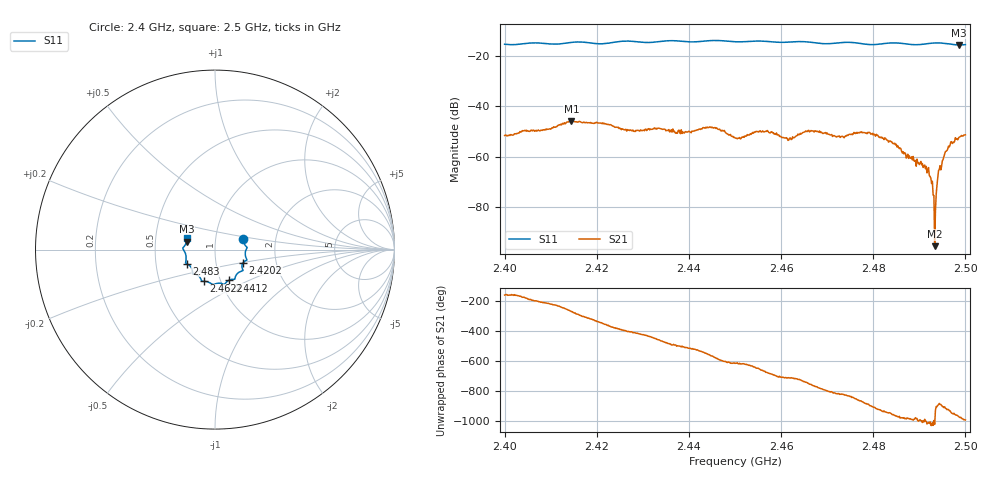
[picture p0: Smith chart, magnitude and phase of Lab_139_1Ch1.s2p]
# Hz S RI R 50
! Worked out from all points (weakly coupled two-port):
!   601 points, 2.4 GHz to 2.5 GHz, reference 50 ohm
!   highest |S21| = -45.90 dB at 2.4145 GHz (marker M1); lowest = -95.5 dB at 2.4933 GHz (marker M2)
!   lowest |S11| = -15.7 dB at 2.4987 GHz (marker M3), VSWR 1.39, Z = 36.3 + j3.31 ohm
!   |S11| at or under -10 dB: start of sweep to end of sweep
!   S12 and S22 are empty: the file has one direction only
!   S11 on the Smith chart (normalised r, x): 2.4 GHz: 1.36, +0.17; 2.4202 GHz: 1.35, -0.20; 2.4412 GHz: 1.09, -0.39; 2.4622 GHz: 0.83, -0.30; 2.483 GHz: 0.72, -0.12; 2.5 GHz: 0.73, +0.09
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2.4e9  0.1574 0.0604  -0.00246 -0.000899  0 0  0 0
2.4145e9  0.1762 -0.0519  6.53e-05 0.00507  0 0  0 0
2.416667e9  0.1771 -0.0588  0.00228 0.00419  0 0  0 0
2.420167e9  0.1568 -0.0724  0.00427 0.00183  0 0  0 0
2.428e9  0.1509 -0.1185  0.002 -0.00246  0 0  0 0
2.433333e9  0.1133 -0.1517  -0.000589 -0.00361  0 0  0 0
2.441167e9  0.0758 -0.1721  -0.00306 -0.000969  0 0  0 0
2.4455e9  0.0523 -0.1933  -0.00303 0.00219  0 0  0 0
2.45e9  0.0268 -0.1871  -0.000517 0.0023  0 0  0 0
2.4565e9  -0.0168 -0.1925  0.00201 0.00238  0 0  0 0
2.462167e9  -0.0624 -0.1767  0.00216 0.000271  0 0  0 0
2.466667e9  -0.0775 -0.1665  0.00242 -0.00215  0 0  0 0
2.473333e9  -0.1216 -0.1362  -0.000575 -0.00246  0 0  0 0
2.479333e9  -0.1324 -0.1002  -0.00294 4.92e-06  0 0  0 0
2.483e9  -0.1585 -0.078  -0.00147 0.00152  0 0  0 0
2.483333e9  -0.1601 -0.077  -0.00127 0.00145  0 0  0 0
2.4915e9  -0.1717 -0.00726  0.000159 0.000618  0 0  0 0
2.493333e9  -0.1787 0.00429  9.66e-06 1.37e-05  0 0  0 0
2.4945e9  -0.1786 0.00948  -0.000653 -9.43e-05  0 0  0 0
2.4955e9  -0.1751 0.0142  -0.00112 0.000144  0 0  0 0
2.498667e9  -0.157 0.0444  -0.000562 0.00236  0 0  0 0
2.5e9  -0.1537 0.0622  0.000261 0.00268  0 0  0 0
